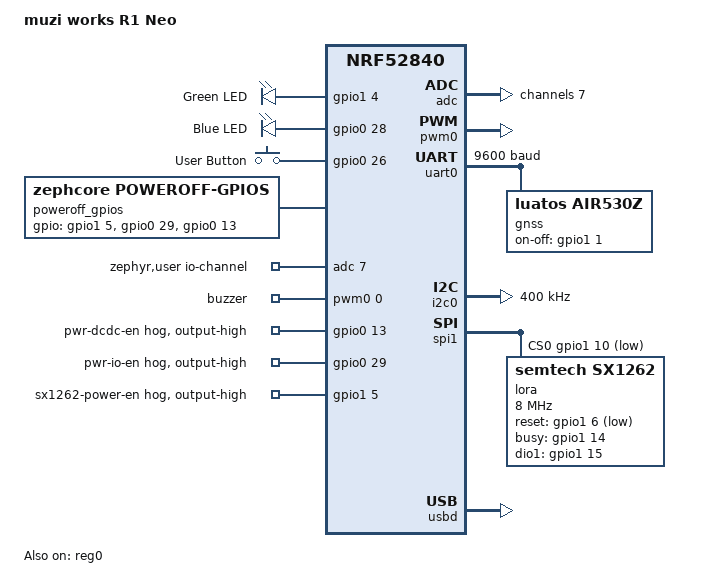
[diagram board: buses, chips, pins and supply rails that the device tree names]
/*
 * muzi works R1 Neo - nRF52840 + SX1262
 * Copyright (c) 2026 ZephCore
 *
 * Hardware:
 * - RAK4630 stamp module (nRF52840 + SX1262), s140 v6.1.1 bootloader
 * - Custom baseboard with a dedicated I/O controller gating a DCDC rail:
 *   the MCU latches its own supply on via P0.13 and signals "MCU is up" on
 *   P0.29, which also enables button/LED passthrough from the controller.
 * - GNSS on UART0 @ 9600 (module identity unconfirmed - see below)
 * - RX8130CE battery-backed RTC @ 0x32 on I2C0
 * - Buzzer on P0.03 (PWM0), green LED P1.04, blue LED P0.28
 * - Single user button on P0.26, active HIGH, external pull-down
 * - No display, no QSPI external flash
 *
 * SPDX-License-Identifier: MIT
 */

/dts-v1/;
#include <nordic/nrf52840_qiaa.dtsi>
#include <nordic/nrf52840_partition.dtsi>
#include <zephyr/dt-bindings/lora/sx126x.h>
#include <zephyr/dt-bindings/adc/nrf-saadc.h>
#include <zephyr/dt-bindings/input/input-event-codes.h>
#include <zephyr/dt-bindings/pwm/pwm.h>
#include "muziworks_r1neo_nrf52840-pinctrl.dtsi"

/* Delete default partitions from nrf52840_partition.dtsi */
/delete-node/ &boot_partition;
/delete-node/ &slot0_partition;
/delete-node/ &slot1_partition;
/delete-node/ &storage_partition;

/ {
	model = "muzi works R1 Neo";
	compatible = "muziworks,r1-neo";

	chosen {
		zephyr,code-partition = &code_partition;
		zephyr,console = &cdc_acm_uart;
		zephyr,shell-uart = &cdc_acm_uart;
	};

	leds {
		compatible = "gpio-leds";

		led_green: led_0 {
			gpios = <&gpio1 4 GPIO_ACTIVE_HIGH>;
			label = "Green LED";
		};
		led_blue: led_1 {
			gpios = <&gpio0 28 GPIO_ACTIVE_HIGH>;
			label = "Blue LED";
		};
	};

	buttons: buttons {
		compatible = "gpio-keys";

		user_button: button_0 {
			/* Active HIGH (pressed = VCC), no internal pull — the board
			 * has an external pull-down and the line is passed through
			 * from the I/O controller. The polarity here is
			 * what ui_prepare_for_system_off() reads to pick the
			 * System OFF SENSE level, so it must stay correct. */
			gpios = <&gpio0 26 GPIO_ACTIVE_HIGH>;
			zephyr,code = <INPUT_KEY_0>;
			label = "User Button";
		};
	};

	/* Input filter: long-press detection on the single user button.
	 * Short-press → KEY_A (fed to the multi-tap filter below)
	 * Long-press  → KEY_F = full power-off (see poweroff_gpios). */
	user_btn_longpress {
		compatible = "zephyr,input-longpress";
		input = <&buttons>;
		input-codes = <INPUT_KEY_0>;
		short-codes = <INPUT_KEY_A>;
		long-codes = <INPUT_KEY_F>;
		long-delay-ms = <1000>;
	};

	/* Input filter: multi-tap on the short-press output.
	 * 1 tap  (400ms wait) → KEY_1 = page next (no-op, board has no display)
	 * 2 taps (400ms wait) → KEY_B = LED heartbeat toggle
	 * 3 taps (400ms wait) → KEY_D = buzzer mute toggle
	 * 4 taps (400ms wait) → KEY_C = GPS on/off
	 * 5 taps (immediate)  → KEY_E = flood advert */
	user_btn_multitap {
		compatible = "zephcore,input-multi-tap";
		/* No 'input' phandle — listen to ALL devices.
		 * KEY_A is emitted by the longpress pseudo-device,
		 * not by &buttons, so we must not filter by device. */
		input-codes = <INPUT_KEY_A>;
		tap-codes = <INPUT_KEY_1 INPUT_KEY_B INPUT_KEY_D INPUT_KEY_C INPUT_KEY_E>;
		tap-delay-ms = <400>;
	};

	/* Full power-off sequence, released as the last act before
	 * sys_poweroff() (helpers/ui/ui_common.c step 6).
	 *
	 * Without this the R1 Neo cannot actually switch off: System OFF puts
	 * the SoC at ~1 uA, but nRF52 GPIO output latches persist across the
	 * transition, so P0.13 would keep holding the DCDC rail up and the
	 * baseboard would keep draining the cell. Order mirrors Arduino
	 * MeshCore's R1NeoBoard::initiateShutdown(): drop the radio rail, tell
	 * the I/O controller the MCU is going away, then release the latch. */
	poweroff_gpios: poweroff-gpios {
		compatible = "zephcore,poweroff-gpios";
		gpios = <&gpio1 5  GPIO_ACTIVE_HIGH>,   /* SX1262 module power */
		        <&gpio0 29 GPIO_ACTIVE_HIGH>,   /* I/O controller "MCU on" */
		        <&gpio0 13 GPIO_ACTIVE_HIGH>;   /* DCDC latch — cuts the rail */
	};

	/* Battery ADC: P0.31 (AIN7).
	 *
	 * UNVERIFIED — needs a DMM check against a known cell voltage before
	 * this is trusted. ZephCore's convention is
	 *     multiplier = divider_ratio * 1.005 * 3600
	 * (3.6 V full scale from ADC_GAIN_1_6 + ADC_REF_INTERNAL, +0.5% for
	 * nRF SAADC gain error). The divider ratio itself is disputed between
	 * sources: Arduino MeshCore's constant implies ~1.73 (→ 6259, the
	 * RAK4631-family value), while the vendor documentation states 1.667
	 * (→ 6031). 6146 splits them and is within ~2% of either; correct it
	 * once the board has been measured. */
	zephyr,user {
		io-channels = <&adc 7>;
		vbat-mv-multiplier = <6146>;
	};

	/* Buzzer on PWM0 channel 0 */
	pwmbuzzer {
		compatible = "pwm-leds";
		buzzer: buzzer {
			pwms = <&pwm0 0 PWM_MSEC(20) PWM_POLARITY_NORMAL>;
		};
	};

	aliases {
		led0 = &led_green;
		led1 = &led_blue;
		sw0 = &user_button;
		watchdog0 = &wdt0;
		buzzer = &buzzer;
		lora0 = &lora;
	};
};

&reg0 {
	status = "okay";
};

&reg1 {
	regulator-initial-mode = <NRF5X_REG_MODE_DCDC>;
};

&adc {
	status = "okay";
	#address-cells = <1>;
	#size-cells = <0>;

	/* Battery voltage */
	channel@7 {
		reg = <7>;
		zephyr,gain = "ADC_GAIN_1_6";
		zephyr,reference = "ADC_REF_INTERNAL";
		zephyr,acquisition-time = <ADC_ACQ_TIME(ADC_ACQ_TIME_MICROSECONDS, 10)>;
		zephyr,input-positive = <NRF_SAADC_AIN7>;
		zephyr,resolution = <12>;
	};
};

&uicr {
	nfct-pins-as-gpios;
};

&gpiote {
	status = "okay";
};

&gpio0 {
	status = "okay";

	/* Latch the DCDC rail on. Must happen as early as possible during boot —
	 * gpio-hog runs at PRE_KERNEL, before any driver. Released again at
	 * shutdown via &poweroff_gpios (a hog is an init-time config, not a
	 * runtime reservation, so both can reference the same pin). */
	pwr_dcdc_en {
		gpio-hog;
		gpios = <13 GPIO_ACTIVE_HIGH>;
		output-high;
		line-name = "pwr-dcdc-en";
	};

	/* Tell the I/O controller the MCU is up. Enables passthrough of the
	 * user button and the LEDs; also released at shutdown. */
	pwr_io_en {
		gpio-hog;
		gpios = <29 GPIO_ACTIVE_HIGH>;
		output-high;
		line-name = "pwr-io-en";
	};
};

&gpio1 {
	status = "okay";

	/* SX1262 module power-enable: held HIGH. Hogged rather than declared as
	 * the radio's rx-enable-gpios because it is module power, not a
	 * per-TX/RX antenna switch — the native sx126x driver must not toggle it
	 * per direction. Dropped at shutdown via &poweroff_gpios; during normal
	 * System OFF the radio is instead parked by its reset-gpios (see
	 * ui_prepare_for_system_off step 4). */
	sx1262_power_en {
		gpio-hog;
		gpios = <5 GPIO_ACTIVE_HIGH>;
		output-high;
		line-name = "sx1262-power-en";
	};

	/* GPS power-enable on P1.01 is NOT hogged here: the pin is driven by
	 * the luatos,air530z driver, which owns this line via on-off-gpios
	 * (see &uart0) so ZephyrGPSManager can power the receiver down. */
};

/* PWM0 for buzzer */
&pwm0 {
	status = "okay";
	pinctrl-0 = <&pwm0_default>;
	pinctrl-1 = <&pwm0_sleep>;
	pinctrl-names = "default", "sleep";
};

/* GNSS on UART0.
 *
 * Module identity is unconfirmed: muzi advertise "dual GPS/BDS", both
 * upstreams default it to 9600 baud, and muzi sell L76K modules separately —
 * all consistent with a CASIC part, but nobody has read a part number off the
 * PCB. luatos,air530z is safe either way: its init script is
 * MODEM_CHAT_SCRIPT_CMD_RESP_NONE under MODEM_CHAT_SCRIPT_NO_ABORT_DEFINE, so
 * the CASIC $PCAS03/$PMTK869 sentences are fire-and-forget and a non-CASIC
 * module simply ignores them and streams plain NMEA. It also gives us
 * on-off-gpios power gating for free. If a teardown ever shows a non-CASIC
 * module and the vendor sentences prove harmful, fall back to
 * gnss-nmea-generic plus a gps-enable alias (see heltec_t114 / thinknode_m9).
 *
 * See the pinctrl dtsi for why TX/RX are P0.24/P0.25 and not the reverse. */
&uart0 {
	compatible = "nordic,nrf-uarte";
	status = "okay";
	current-speed = <9600>;
	pinctrl-0 = <&uart0_default>;
	pinctrl-1 = <&uart0_sleep>;
	pinctrl-names = "default", "sleep";

	gnss: gnss {
		compatible = "luatos,air530z";
		on-off-gpios = <&gpio1 1 GPIO_ACTIVE_HIGH>;
	};
};

/* I2C0 */
&i2c0 {
	compatible = "nordic,nrf-twim";
	status = "okay";
	clock-frequency = <I2C_BITRATE_FAST>;
	pinctrl-0 = <&i2c0_default>;
	pinctrl-1 = <&i2c0_sleep>;
	pinctrl-names = "default", "sleep";

	/* All supported environment & power sensors — auto-detected at runtime */
	#include "../../common/sensors-i2c.dtsi"
	/* Battery-backed RX8130CE @ 0x32 — opt in to boot-time time restore
	 * (auto-detected at runtime among the supported chips). */
	#include "../../common/rtc-i2c.dtsi"
};

/* SPI1 for SX1262 */
&spi1 {
	compatible = "nordic,nrf-spim";
	status = "okay";
	cs-gpios = <&gpio1 10 GPIO_ACTIVE_LOW>;
	pinctrl-0 = <&spi1_default>;
	pinctrl-1 = <&spi1_sleep>;
	pinctrl-names = "default", "sleep";

	lora: lora@0 {
		compatible = "semtech,sx1262";
		reg = <0>;
		spi-max-frequency = <8000000>;

		/* LoRa control pins. reset-gpios is wired and used — P1.06 is
		 * the SX126x reset line; Arduino MeshCore's RADIOLIB_NC is
		 * the outlier. ZephCore needs it: ui_prepare_for_system_off()
		 * parks the radio in HW reset before System OFF. */
		reset-gpios = <&gpio1 6 GPIO_ACTIVE_LOW>;
		busy-gpios = <&gpio1 14 GPIO_ACTIVE_HIGH>;
		dio1-gpios = <&gpio1 15 (GPIO_PULL_DOWN | GPIO_ACTIVE_HIGH)>;

		/* DIO2 drives RF switch for TX */
		dio2-tx-enable;

		/* TCXO voltage 1.8V via DIO3 */
		dio3-tcxo-voltage = <SX126X_DIO3_TCXO_1V8>;
		tcxo-power-startup-delay-ms = <10>;

		/* RX boosted mode for better sensitivity */
		rx-boosted;
	};
};

zephyr_udc0: &usbd {
	compatible = "nordic,nrf-usbd";
	status = "okay";

	cdc_acm_uart: cdc_acm_uart {
		compatible = "zephyr,cdc-acm-uart";
	};
};

/* Arduino MeshCore compatible partition layout (SoftDevice v6) */
#include "../../common/nrf52_partitions_sdv6.dtsi"
#include "../../common/nrf52_wakeup.dtsi"
